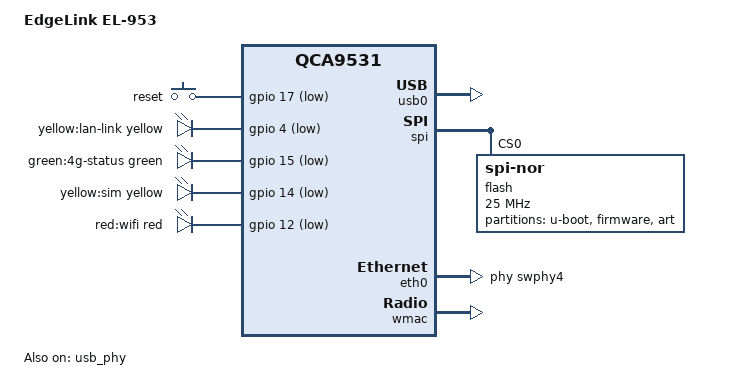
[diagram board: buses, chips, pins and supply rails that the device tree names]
// SPDX-License-Identifier: GPL-2.0-or-later OR MIT

#include "qca953x.dtsi"

#include <dt-bindings/gpio/gpio.h>
#include <dt-bindings/input/input.h>
#include <dt-bindings/leds/common.h>

/ {
	compatible = "edgelink,el-953", "qca,qca9531";
	model = "EdgeLink EL-953";

	aliases {
		label-mac-device = &eth1;
	};

	keys {
		compatible = "gpio-keys";

		pinctrl-names = "default";
		pinctrl-0 = <&jtag_disable_pins>;

		reset {
			label = "reset";
			linux,code = <KEY_RESTART>;
			gpios = <&gpio 17 GPIO_ACTIVE_LOW>;
			debounce-interval = <60>;
		};
	};

	leds {
		compatible = "gpio-leds";

		/* 黄色：LAN 物理端口连接状态（网线接入亮、断开灭） */
		edgelink_lan_link: lan_link {
			label = "yellow:lan-link";
			gpios = <&gpio 4 GPIO_ACTIVE_LOW>;
			color = <LED_COLOR_ID_YELLOW>;
		};

		/* 绿色：4G/WAN 联网状态（外网不通=快闪，通=长亮） */
		edgelink_4g: fourg_status {
			label = "green:4g-status";
			gpios = <&gpio 15 GPIO_ACTIVE_LOW>;
			color = <LED_COLOR_ID_GREEN>;
		};

		/* 黄色：SIM 卡状态（在槽=灭，弹出=闪烁提醒） */
		edgelink_sim: sim_status {
			label = "yellow:sim";
			gpios = <&gpio 14 GPIO_ACTIVE_LOW>;
			color = <LED_COLOR_ID_YELLOW>;
		};

		/* 红色：WiFi 状态（无线开=亮，关=灭） */
		edgelink_wifi: wifi_status {
			label = "red:wifi";
			gpios = <&gpio 12 GPIO_ACTIVE_LOW>;
			color = <LED_COLOR_ID_RED>;
		};

		/* GPIO 11 / GPIO 16 板上未接 LED，按实际空置 */
	};
};

&usb0 {
	status = "okay";
};

&usb_phy {
	status = "okay";
};

&spi {
	status = "okay";

	flash@0 {
		compatible = "jedec,spi-nor";
		reg = <0>;
		spi-max-frequency = <25000000>;

		partitions {
			compatible = "fixed-partitions";
			#address-cells = <1>;
			#size-cells = <1>;

			partition@0 {
				label = "u-boot";
				reg = <0x000000 0x020000>;
				read-only;
			};

			partition@20000 {
				compatible = "tplink,firmware";
				label = "firmware";
				reg = <0x020000 0xfd0000>;
			};

			art: partition@ff0000 {
				label = "art";
				reg = <0xff0000 0x010000>;
				read-only;
			};
		};
	};
};

&eth0 {
	status = "okay";

	nvmem-cells = <&macaddr_art_0>;
	nvmem-cell-names = "mac-address";

	phy-handle = <&swphy4>;
};

&eth1 {
	nvmem-cells = <&macaddr_art_0>;
	nvmem-cell-names = "mac-address";
	mac-address-increment = <1>;
};

&wmac {
	status = "okay";

	mtd-cal-data = <&art 0x1000>;
};

&art {
	compatible = "nvmem-cells";
	#address-cells = <1>;
	#size-cells = <1>;

	macaddr_art_0: macaddr@0 {
		reg = <0x0 0x6>;
	};
};
